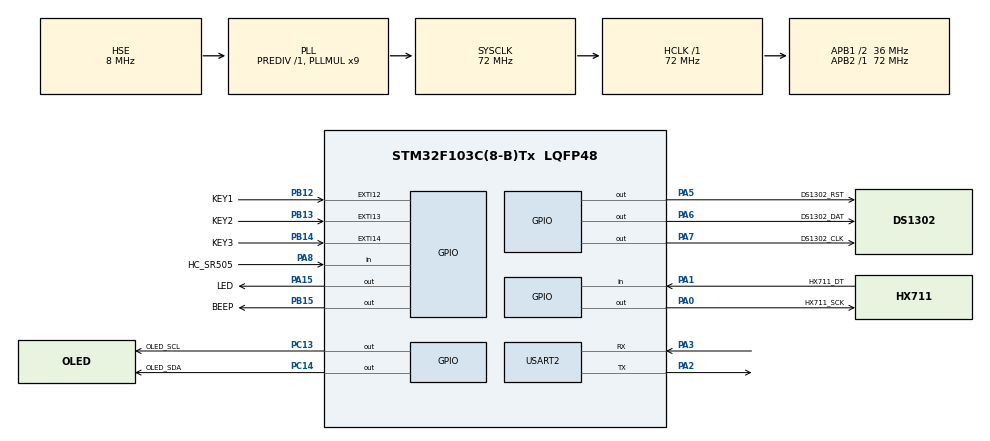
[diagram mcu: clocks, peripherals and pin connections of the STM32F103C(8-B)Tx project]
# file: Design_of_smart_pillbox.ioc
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Mcu.Family=STM32F1
Mcu.Name=STM32F103C(8-B)Tx
Mcu.Package=LQFP48
NVIC.EXTI15_10_IRQn=true\:0\:0\:false\:false\:true\:true\:true\:true
NVIC.PriorityGroup=NVIC_PRIORITYGROUP_4
NVIC.TIM1_UP_IRQn=true\:0\:0\:false\:false\:true\:true\:true\:true
PA0-WKUP.GPIO_Label=HX711_SCK
PA0-WKUP.GPIO_ModeDefaultOutputPP=GPIO_MODE_OUTPUT_PP
PA0-WKUP.GPIO_PuPd=GPIO_PULLUP
PA0-WKUP.GPIO_Speed=GPIO_SPEED_FREQ_HIGH
PA0-WKUP.PinState=GPIO_PIN_SET
PA0-WKUP.Signal=GPIO_Output
PA1.GPIO_Label=HX711_DT
PA1.GPIO_Mode=GPIO_MODE_INPUT
PA1.GPIO_PuPd=GPIO_PULLUP
PA1.Signal=GPIO_Input
PA13.Mode=Serial_Wire
PA13.Signal=SYS_JTMS-SWDIO
PA14.Mode=Serial_Wire
PA14.Signal=SYS_JTCK-SWCLK
PA15.GPIO_Label=LED
PA15.GPIO_PuPd=GPIO_PULLUP
PA15.GPIO_Speed=GPIO_SPEED_FREQ_HIGH
PA15.PinState=GPIO_PIN_SET
PA15.Signal=GPIO_Output
PA2.Mode=Asynchronous
PA2.Signal=USART2_TX
PA3.Mode=Asynchronous
PA3.Signal=USART2_RX
PA5.GPIO_Label=DS1302_RST
PA5.GPIO_PuPd=GPIO_PULLUP
PA5.GPIO_Speed=GPIO_SPEED_FREQ_HIGH
PA5.PinState=GPIO_PIN_SET
PA5.Signal=GPIO_Output
PA6.GPIO_Label=DS1302_DAT
PA6.GPIO_PuPd=GPIO_PULLUP
PA6.GPIO_Speed=GPIO_SPEED_FREQ_HIGH
PA6.PinState=GPIO_PIN_SET
PA6.Signal=GPIO_Output
PA7.GPIO_Label=DS1302_CLK
PA7.GPIO_PuPd=GPIO_PULLUP
PA7.GPIO_Speed=GPIO_SPEED_FREQ_HIGH
PA7.PinState=GPIO_PIN_SET
PA7.Signal=GPIO_Output
PA8.GPIO_Label=HC_SR505
PA8.GPIO_Mode=GPIO_MODE_INPUT
PA8.GPIO_PuPd=GPIO_PULLDOWN
PA8.Signal=GPIO_Input
PB12.GPIO_Label=KEY1
PB12.GPIO_ModeDefaultEXTI=GPIO_MODE_IT_FALLING
PB12.GPIO_PuPd=GPIO_PULLUP
PB12.Signal=GPXTI12
PB13.GPIO_Label=KEY2
PB13.GPIO_ModeDefaultEXTI=GPIO_MODE_IT_FALLING
PB13.GPIO_PuPd=GPIO_PULLUP
PB13.Signal=GPXTI13
PB14.GPIO_Label=KEY3
PB14.GPIO_ModeDefaultEXTI=GPIO_MODE_IT_FALLING
PB14.GPIO_PuPd=GPIO_PULLUP
PB14.Signal=GPXTI14
PB15.GPIO_Label=BEEP
PB15.GPIO_ModeDefaultOutputPP=GPIO_MODE_OUTPUT_PP
PB15.GPIO_PuPd=GPIO_PULLUP
PB15.GPIO_Speed=GPIO_SPEED_FREQ_HIGH
PB15.PinState=GPIO_PIN_SET
PB15.Signal=GPIO_Output
PC13-TAMPER-RTC.GPIO_Label=OLED_SCL
PC13-TAMPER-RTC.GPIO_ModeDefaultOutputPP=GPIO_MODE_OUTPUT_PP
PC13-TAMPER-RTC.GPIO_PuPd=GPIO_PULLUP
PC13-TAMPER-RTC.GPIO_Speed=GPIO_SPEED_FREQ_HIGH
PC13-TAMPER-RTC.PinState=GPIO_PIN_SET
PC13-TAMPER-RTC.Signal=GPIO_Output
PC14-OSC32_IN.GPIO_Label=OLED_SDA
PC14-OSC32_IN.GPIO_ModeDefaultOutputPP=GPIO_MODE_OUTPUT_PP
PC14-OSC32_IN.GPIO_PuPd=GPIO_PULLUP
PC14-OSC32_IN.GPIO_Speed=GPIO_SPEED_FREQ_HIGH
PC14-OSC32_IN.PinState=GPIO_PIN_SET
PC14-OSC32_IN.Signal=GPIO_Output
PD0-OSC_IN.Mode=HSE-External-Oscillator
PD0-OSC_IN.Signal=RCC_OSC_IN
PD1-OSC_OUT.Mode=HSE-External-Oscillator
PD1-OSC_OUT.Signal=RCC_OSC_OUT
ProjectManager.HeapSize=0x200
ProjectManager.StackSize=0x400
ProjectManager.TargetToolchain=MDK-ARM V5.32
RCC.AHBFreq_Value=72000000
RCC.APB1CLKDivider=RCC_HCLK_DIV2
RCC.APB1Freq_Value=36000000
RCC.APB1TimFreq_Value=72000000
RCC.APB2Freq_Value=72000000
RCC.APB2TimFreq_Value=72000000
RCC.HCLKFreq_Value=72000000
RCC.PLLMUL=RCC_PLL_MUL9
RCC.PLLSourceVirtual=RCC_PLLSOURCE_HSE
RCC.SYSCLKFreq_VALUE=72000000
RCC.SYSCLKSource=RCC_SYSCLKSOURCE_PLLCLK
RCC.USBFreq_Value=72000000
TIM1.Prescaler=7199
USART2.VirtualMode=VM_ASYNC
VP_TIM1_VS_ClockSourceINT.Mode=Internal
board=custom

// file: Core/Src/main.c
/* USER CODE BEGIN Header */
/**
  ******************************************************************************
  * @file           : main.c
  * @brief          : Main program body
  ******************************************************************************
  * @attention
  *
  * Copyright (c) 2026 STMicroelectronics.
  * All rights reserved.
  *
  * This software is licensed under terms that can be found in the LICENSE file
  * in the root directory of this software component.
  * If no LICENSE file comes with this software, it is provided AS-IS.
  *
  ******************************************************************************
  */
/* USER CODE END Header */
#include "main.h"
#include "tim.h"
#include "usart.h"
#include "gpio.h"

/* USER CODE BEGIN Includes */
#include "oled.h"
#include "ds1302.h"
#include "HX711.h"
#include <stdio.h>  // 添加stdio.h头文件
/* USER CODE END Includes */

/* USER CODE BEGIN PV */
uint8_t key1_pressed = 0;
uint8_t key2_pressed = 0;
uint8_t key3_pressed = 0;
uint32_t weight_threshold = 100000;  // 全局阈值变量

// 时间设置相关变量
uint8_t setting_mode = 0;  // 0: 阈值设置, 1: 时间设置
uint8_t time_setting_index = 0;  // 0:年, 1:月, 2:日, 3:时, 4:分, 5:秒
DS1302_Time setting_time;  // 设置中的时间

// 报警时间相关变量
uint8_t alarm_hour = 0;    // 报警小时
uint8_t alarm_minute = 0;  // 报警分钟
uint8_t alarm_second = 0;  // 报警秒
uint8_t alarm_active = 0;  // 报警状态
uint32_t alarm_start_time = 0;  // 报警开始时间
uint8_t alarm_setting_mode = 0;  // 0: 正常模式, 1: 报警时间设置模式
uint8_t alarm_setting_index = 0;  // 0:时, 1:分, 2:秒
/* USER CODE END PV */

void SystemClock_Config(void);

/* USER CODE BEGIN 0 */
#define FLASH_USER_START_ADDR   0x0800FC00
#define FLASH_USER_END_ADDR     0x08010000

// 函数声明
uint32_t Flash_Read(uint32_t address);

void Flash_Write(uint32_t address, uint32_t data)
{
  HAL_FLASH_Unlock();

  FLASH_EraseInitTypeDef EraseInitStruct;
  uint32_t PageError = 0;

  EraseInitStruct.TypeErase = FLASH_TYPEERASE_PAGES;
  EraseInitStruct.PageAddress = address;
  EraseInitStruct.NbPages = 1;

  // 擦除页面
  if (HAL_FLASHEx_Erase(&EraseInitStruct, &PageError) == HAL_OK) {
    // 写入数据
    HAL_FLASH_Program(FLASH_TYPEPROGRAM_WORD, address, data);
  }

  HAL_FLASH_Lock();

  // 验证写入是否成功
  uint32_t verify = Flash_Read(address);
  if (verify != data) {
    // 写入失败，使用默认值
    weight_threshold = 100000;
    // 再次尝试写入默认值
    HAL_FLASH_Unlock();
    if (HAL_FLASHEx_Erase(&EraseInitStruct, &PageError) == HAL_OK) {
      HAL_FLASH_Program(FLASH_TYPEPROGRAM_WORD, address, weight_threshold);
    }
    HAL_FLASH_Lock();
  }
}

uint32_t Flash_Read(uint32_t address)
{
  return *(__IO uint32_t*)address;
}
/* USER CODE END 0 */

int main(void)
{

  /* MCU Configuration--------------------------------------------------------*/

  /* Reset of all peripherals, Initializes the Flash interface and the Systick. */
  HAL_Init();

  /* Configure the system clock */
  SystemClock_Config();

  /* Initialize all configured peripherals */
  MX_GPIO_Init();
  MX_USART2_UART_Init();
  MX_TIM1_Init();
  /* USER CODE BEGIN 2 */
  OLED_Init();
  DS1302_Init();
  HX711_Init();
//          HAL_GPIO_WritePin(LED_GPIO_Port, LED_Pin, GPIO_PIN_RESET);
//					        HAL_GPIO_WritePin(BEEP_GPIO_Port, BEEP_Pin, GPIO_PIN_RESET);
  HX711_SetCalFactorB32(0.01f);

  HX711_TareB(-832236);

  DS1302_Time time;
  time.year = 26;
  time.month = 3;
  time.day = 26;
  time.hour = 12;
  time.minute = 0;
  time.second = 0;
  DS1302_SetTime(&time);

  // 从Flash读取阈值
  weight_threshold = Flash_Read(FLASH_USER_START_ADDR);
  // 检查读取的值是否有效
  if (weight_threshold == 0xFFFFFFFF || weight_threshold < 100000 || weight_threshold > 1000000) {
    weight_threshold = 100000;
    // 如果是第一次运行或Flash值无效，写入默认值
    Flash_Write(FLASH_USER_START_ADDR, weight_threshold);
  }

  uint8_t in_setting_mode = 0;

  uint8_t human_detect_count = 0;
  uint8_t human_detected = 0;

  static uint32_t last_display_time = 0;

  OLED_Refresh();

  // 启动定时器1中断，每秒更新一次时间显示
  HAL_TIM_Base_Start_IT(&htim1);

  /* USER CODE END 2 */

  /* Infinite loop */
  while (1)
  {

    /* USER CODE BEGIN 3 */
    // 检查时间更新标志，每秒更新一次时间显示

    // Handle key interrupts
    if (key1_pressed) {
      key1_pressed = 0;
      // 添加按键消抖延迟
      HAL_Delay(100);
      // 再次检查按键状态，确保是有效的按键按下
      if (HAL_GPIO_ReadPin(KEY1_GPIO_Port, KEY1_Pin) == GPIO_PIN_RESET) {
        if (in_setting_mode) {
          // 在设置模式下，按KEY1切换设置模式或退出
          if (setting_mode == 0) {
            // 保存阈值设置
            Flash_Write(FLASH_USER_START_ADDR, weight_threshold);
            // 从阈值设置切换到时间设置
            setting_mode = 1;
            time_setting_index = 0;
            // 读取当前时间作为初始值
            DS1302_GetTime(&setting_time);
          } else if (setting_mode == 1) {
            // 退出设置模式
            // 保存时间设置
            DS1302_SetTime(&setting_time);
            // 清除OLED显示
            OLED_Clear();
            OLED_Refresh();
            in_setting_mode = 0;
          }
        } else {
          // 进入设置模式
          in_setting_mode = 1;
          setting_mode = 0;  // 默认进入阈值设置
          time_setting_index = 0;
          // 读取当前时间作为初始值
          DS1302_GetTime(&setting_time);
        }
      }
    }

    if (in_setting_mode) {
      // 处理设置模式下的按键
      if (key2_pressed) {
        key2_pressed = 0;
        if (setting_mode == 0) {
          // 阈值设置
          weight_threshold += 100000;
          if (weight_threshold > 1000000) weight_threshold = 1000000;
          Flash_Write(FLASH_USER_START_ADDR, weight_threshold);
        } else if (setting_mode == 1) {
          // 时间设置 - 增加当前项或切换设置项
          static uint32_t last_key2_time = 0;
          if (HAL_GetTick() - last_key2_time < 300) {
            // 短按：增加当前项
            switch (time_setting_index) {
              case 0:  // 年
                setting_time.year = (setting_time.year + 1) % 100;
                break;
              case 1:  // 月
                setting_time.month = (setting_time.month % 12) + 1;
                break;
              case 2:  // 日
                // 简单处理，实际应根据月份调整天数
                setting_time.day = (setting_time.day % 31) + 1;
                break;
              case 3:  // 时
                setting_time.hour = (setting_time.hour % 23) + 1;
                break;
              case 4:  // 分
                setting_time.minute = (setting_time.minute % 59) + 1;
                break;
              case 5:  // 秒
                setting_time.second = (setting_time.second % 59) + 1;
                break;
            }
          } else {
            // 长按：切换到下一个设置项
            time_setting_index = (time_setting_index + 1) % 6;
          }
          last_key2_time = HAL_GetTick();
        }
        HAL_Delay(20);
      }

      if (key3_pressed) {
        key3_pressed = 0;
        if (setting_mode == 0) {
          // 阈值设置 - 减少阈值
          if (weight_threshold >= 100000) {
            weight_threshold -= 100000;
            Flash_Write(FLASH_USER_START_ADDR, weight_threshold);
          }
        } else if (setting_mode == 1) {
          // 时间设置 - 减少当前项
          switch (time_setting_index) {
            case 0:  // 年
              setting_time.year = (setting_time.year + 99) % 100;
              break;
            case 1:  // 月
              setting_time.month = (setting_time.month + 10) % 12 + 1;
              break;
            case 2:  // 日
              setting_time.day = (setting_time.day + 29) % 31 + 1;
              break;
            case 3:  // 时
              setting_time.hour = (setting_time.hour + 23) % 24;
              break;
            case 4:  // 分
              setting_time.minute = (setting_time.minute + 59) % 60;
              break;
            case 5:  // 秒
              setting_time.second = (setting_time.second + 59) % 60;
              break;
          }
        }
        HAL_Delay(20);
      }

      // 显示设置界面
      OLED_Clear();
      if (setting_mode == 0) {
        // 阈值设置界面
        OLED_ShowString(0, 0, (uint8_t*)"Setting Mode", 8, 1);
        OLED_ShowString(0, 16, (uint8_t*)"Threshold:", 8, 1);
        OLED_ShowNum(64, 16, weight_threshold, 7, 8, 1);
        OLED_ShowString(0, 24, (uint8_t*)"KEY2:+ KEY3:-", 8, 1);
        OLED_ShowString(0, 32, (uint8_t*)"KEY1:Time", 8, 1);
      } else if (setting_mode == 1) {
        // 时间设置界面
        OLED_ShowString(0, 0, (uint8_t*)"Time Setting", 8, 1);

        // 显示当前选中的项
        const char* time_items[] = {"Year", "Month", "Day", "Hour", "Minute", "Second"};
        OLED_ShowString(0, 16, (uint8_t*)"Current:", 8, 1);
        OLED_ShowString(48, 16, (uint8_t*)time_items[time_setting_index], 8, 1);

        OLED_ShowString(0, 24, (uint8_t*)"KEY2:+ KEY3:-", 8, 1);
        OLED_ShowString(64, 24, (uint8_t*)"Long KEY2:Next", 8, 1);
        OLED_ShowString(0, 32, (uint8_t*)"KEY1:Exit", 8, 1);

        // 显示当前设置的时间（在Exit下一行）
        char time_str[30];
        sprintf(time_str, "20%02d-%02d-%02d %02d:%02d:%02d",
                setting_time.year, setting_time.month, setting_time.day,
                setting_time.hour, setting_time.minute, setting_time.second);
        OLED_ShowString(0, 40, (uint8_t*)time_str, 8, 1);
      }
      OLED_Refresh();

      HAL_Delay(100);
    } else {
      // 只在非设置模式下处理人体检测和显示
      // 不要清除key2_pressed和key3_pressed，因为用户可能在进入设置模式前按下了这些按键

      // 非设置模式下的按键处理（主页面）
      if (key2_pressed) {
        key2_pressed = 0;
        if (alarm_setting_mode) {
          // 报警时间设置模式 - 增加当前项
          switch (alarm_setting_index) {
            case 0:  // 时
              alarm_hour = (alarm_hour + 1) % 24;
              break;
            case 1:  // 分
              alarm_minute = (alarm_minute + 1) % 60;
              break;
            case 2:  // 秒
              alarm_second = (alarm_second + 1) % 60;
              break;
          }
        } else {
          // 进入报警时间设置模式
          alarm_setting_mode = 1;
          alarm_setting_index = 0;
        }
        HAL_Delay(20);
      }

      if (key3_pressed) {
        key3_pressed = 0;
        if (alarm_setting_mode) {
          // 报警时间设置模式 - 减少当前项或切换设置项
          static uint32_t last_key3_time = 0;
          if (HAL_GetTick() - last_key3_time < 300) {
            // 短按：减少当前项
            switch (alarm_setting_index) {
              case 0:  // 时
                alarm_hour = (alarm_hour + 23) % 24;
                break;
              case 1:  // 分
                alarm_minute = (alarm_minute + 59) % 60;
                break;
              case 2:  // 秒
                alarm_second = (alarm_second + 59) % 60;
                break;
            }
          } else {
            // 长按：切换到下一个设置项或退出设置模式
            if (alarm_setting_index < 2) {
              alarm_setting_index++;
            } else {
              // 退出报警时间设置模式
              alarm_setting_mode = 0;
            }
          }
          last_key3_time = HAL_GetTick();
        }
        HAL_Delay(20);
      }

      // HCSR505 human detection
      uint8_t hcsr505_state = HAL_GPIO_ReadPin(HC_SR505_GPIO_Port, HC_SR505_Pin);
      if (hcsr505_state == GPIO_PIN_SET) {
        if (human_detect_count < 5) {
          human_detect_count++;
        }
        if (human_detect_count >= 5) {
          human_detected = 1;
        }
      } else {
        human_detect_count = 0;
        human_detected = 0;
      }

      int32_t weightA128 = HX711_ReadChannelBlocking(CHAN_A_GAIN_128);
      int32_t rawB32 = HX711_ReadChannelBlocking(CHAN_B_GAIN_32);

      // 获取当前时间
      DS1302_Time current_time;
      DS1302_GetTime(&current_time);

      // Check if weight is below threshold
      if (human_detected && rawB32 < weight_threshold) {
        if (!alarm_active) {
          // 发送报警信息
          char alarm_msg[100];
          sprintf(alarm_msg, "ALARM: Weight below threshold! Current: %ld, Threshold: %ld\r\n", rawB32, weight_threshold);
          HAL_UART_Transmit(&huart2, (uint8_t*)alarm_msg, strlen(alarm_msg), 1000);

          // 触发BEEP和LED
          HAL_GPIO_WritePin(LED_GPIO_Port, LED_Pin, GPIO_PIN_RESET);
          HAL_GPIO_WritePin(BEEP_GPIO_Port, BEEP_Pin, GPIO_PIN_RESET);

          alarm_active = 1;
          alarm_start_time = HAL_GetTick();
        }
      } else {
        // 没有报警时关闭BEEP和LED
        if (alarm_active) {
          HAL_GPIO_WritePin(LED_GPIO_Port, LED_Pin, GPIO_PIN_SET);
          HAL_GPIO_WritePin(BEEP_GPIO_Port, BEEP_Pin, GPIO_PIN_SET);
          alarm_active = 0;
        }
      }

      // 时间匹配报警逻辑
      if (current_time.hour == alarm_hour &&
          current_time.minute == alarm_minute &&
          current_time.second == alarm_second) {
        if (!alarm_active) {
          // 发送报警信息
          char alarm_msg[100];
          sprintf(alarm_msg, "ALARM: Time match! Current: %02d:%02d:%02d, Alarm: %02d:%02d:%02d\r\n",
                  current_time.hour, current_time.minute, current_time.second,
                  alarm_hour, alarm_minute, alarm_second);
          HAL_UART_Transmit(&huart2, (uint8_t*)alarm_msg, strlen(alarm_msg), 1000);

          // 触发BEEP和LED
          HAL_GPIO_WritePin(LED_GPIO_Port, LED_Pin, GPIO_PIN_RESET);
          HAL_GPIO_WritePin(BEEP_GPIO_Port, BEEP_Pin, GPIO_PIN_RESET);

          alarm_active = 1;
          alarm_start_time = HAL_GetTick();
        }
      }

      // 5秒后关闭报警
      if (alarm_active && (HAL_GetTick() - alarm_start_time >= 5000)) {
        HAL_GPIO_WritePin(LED_GPIO_Port, LED_Pin, GPIO_PIN_SET);
        HAL_GPIO_WritePin(BEEP_GPIO_Port, BEEP_Pin, GPIO_PIN_SET);
        alarm_active = 0;
      }

      // 更新时间显示
      if (time_update_flag) {
        time_update_flag = 0;
        Update_Time_Display();

        OLED_ShowString(0, 16, (uint8_t*)"A128:", 8, 1);
        OLED_ShowNum(30, 16, weightA128, 8, 8, 1);

        OLED_ShowString(0, 24, (uint8_t*)"B32:", 8, 1);
        OLED_ShowNum(24, 24, rawB32, 8, 8, 1);

        OLED_ShowString(0, 32, (uint8_t*)"Th:", 8, 1);
        OLED_ShowNum(16, 32, weight_threshold, 7, 8, 1);

        // 显示报警时间
        char alarm_str[20];
        sprintf(alarm_str, "Alarm: %02d:%02d:%02d", alarm_hour, alarm_minute, alarm_second);
        OLED_ShowString(0, 40, (uint8_t*)alarm_str, 8, 1);

        if (human_detected) {
          OLED_ShowString(64, 32, (uint8_t*)"Human", 8, 1);
        }

        // 显示报警设置提示（分两行显示）
        if (alarm_setting_mode) {
          const char* alarm_items[] = {"Hour", "Minute", "Second"};
          OLED_ShowString(0, 50, (uint8_t*)"Set:", 8, 1);
          OLED_ShowString(64, 50, (uint8_t*)alarm_items[alarm_setting_index], 8, 1);
        } else {
          // 主页面显示报警设置提示
          OLED_ShowString(0, 50, (uint8_t*)"KEY2:Alarm Set", 8, 1);
        }
      }

      HAL_Delay(10);
    }
  }
  /* USER CODE END 3 */
}

void SystemClock_Config(void)
{
  RCC_OscInitTypeDef RCC_OscInitStruct = {0};
  RCC_ClkInitTypeDef RCC_ClkInitStruct = {0};

  /** Initializes the RCC Oscillators according to the specified parameters
  * in the RCC_OscInitTypeDef structure.
  */
  RCC_OscInitStruct.OscillatorType = RCC_OSCILLATORTYPE_HSE;
  RCC_OscInitStruct.HSEState = RCC_HSE_ON;
  RCC_OscInitStruct.HSEPredivValue = RCC_HSE_PREDIV_DIV1;
  RCC_OscInitStruct.HSIState = RCC_HSI_ON;
  RCC_OscInitStruct.PLL.PLLState = RCC_PLL_ON;
  RCC_OscInitStruct.PLL.PLLSource = RCC_PLLSOURCE_HSE;
  RCC_OscInitStruct.PLL.PLLMUL = RCC_PLL_MUL9;
  if (HAL_RCC_OscConfig(&RCC_OscInitStruct) != HAL_OK)
  {
    Error_Handler();
  }

  /** Initializes the CPU, AHB and APB buses clocks
  */
  RCC_ClkInitStruct.ClockType = RCC_CLOCKTYPE_HCLK|RCC_CLOCKTYPE_SYSCLK
                              |RCC_CLOCKTYPE_PCLK1|RCC_CLOCKTYPE_PCLK2;
  RCC_ClkInitStruct.SYSCLKSource = RCC_SYSCLKSOURCE_PLLCLK;
  RCC_ClkInitStruct.AHBCLKDivider = RCC_SYSCLK_DIV1;
  RCC_ClkInitStruct.APB1CLKDivider = RCC_HCLK_DIV2;
  RCC_ClkInitStruct.APB2CLKDivider = RCC_HCLK_DIV1;

  if (HAL_RCC_ClockConfig(&RCC_ClkInitStruct, FLASH_LATENCY_2) != HAL_OK)
  {
    Error_Handler();
  }
}

/* USER CODE BEGIN 4 */
void HAL_GPIO_EXTI_Callback(uint16_t GPIO_Pin)
{
  // 直接设置标志，不在中断中使用HAL_Delay
  if (GPIO_Pin == KEY1_Pin) {
    key1_pressed = 1;
  } else if (GPIO_Pin == KEY2_Pin) {
    key2_pressed = 1;
  } else if (GPIO_Pin == KEY3_Pin) {
    key3_pressed = 1;
  }
}
/* USER CODE END 4 */

void Error_Handler(void)
{
  __disable_irq();
  while (1)
  {
  }
}
